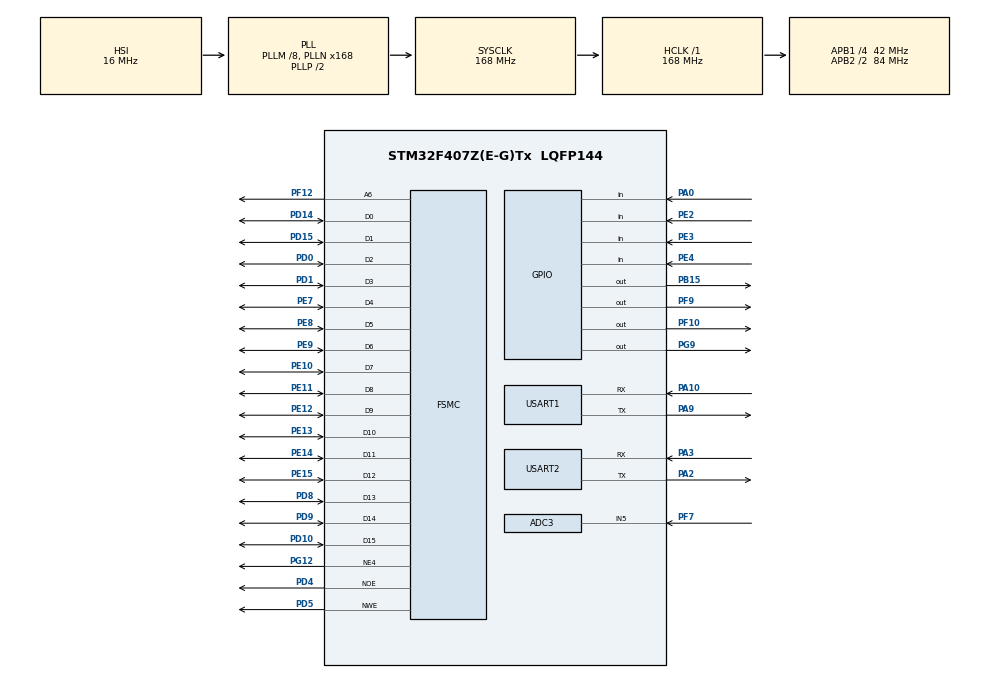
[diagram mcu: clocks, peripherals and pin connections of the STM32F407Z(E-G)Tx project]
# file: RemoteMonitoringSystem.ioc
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ADC3.Channel-0\#ChannelRegularConversion=ADC_CHANNEL_5
ADC3.NbrOfConversionFlag=1
ADC3.Rank-0\#ChannelRegularConversion=1
ADC3.SamplingTime-0\#ChannelRegularConversion=ADC_SAMPLETIME_480CYCLES
Dma.ADC3.0.Direction=DMA_PERIPH_TO_MEMORY
Dma.ADC3.0.FIFOMode=DMA_FIFOMODE_DISABLE
Dma.ADC3.0.Instance=DMA2_Stream0
Dma.ADC3.0.MemDataAlignment=DMA_MDATAALIGN_HALFWORD
Dma.ADC3.0.MemInc=DMA_MINC_ENABLE
Dma.ADC3.0.Mode=DMA_CIRCULAR
Dma.ADC3.0.PeriphDataAlignment=DMA_PDATAALIGN_HALFWORD
Dma.ADC3.0.PeriphInc=DMA_PINC_DISABLE
Dma.ADC3.0.Priority=DMA_PRIORITY_LOW
Dma.Request0=ADC3
FREERTOS.Tasks01=defaultTask,24,128,StartDefaultTask,Default,NULL,Dynamic,NULL,NULL
FSMC.AddressSetupTime1=0x0F
FSMC.BusTurnAroundDuration1=0
FSMC.DataSetupTime1=60
FSMC.ExtendedAddressSetupTime1=9
FSMC.ExtendedBusTurnAroundDuration1=0
FSMC.ExtendedDataSetupTime1=9
FSMC.ExtendedMode1=FSMC_EXTENDED_MODE_ENABLE
Mcu.Family=STM32F4
Mcu.Name=STM32F407Z(E-G)Tx
Mcu.Package=LQFP144
NVIC.ADC_IRQn=true\:5\:0\:false\:false\:true\:true\:true\:true\:true
NVIC.DMA2_Stream0_IRQn=true\:5\:0\:false\:false\:true\:true\:false\:true\:true
NVIC.PriorityGroup=NVIC_PRIORITYGROUP_4
NVIC.TIM7_IRQn=true\:15\:0\:false\:false\:true\:false\:false\:true\:true
NVIC.TimeBase=TIM7_IRQn
NVIC.TimeBaseIP=TIM7
NVIC.USART1_IRQn=true\:5\:0\:false\:false\:true\:true\:true\:true\:true
NVIC.USART2_IRQn=true\:5\:0\:false\:false\:true\:true\:true\:true\:true
PA0-WKUP.GPIO_PuPd=GPIO_PULLDOWN
PA0-WKUP.Signal=GPIO_Input
PA10.GPIO_PuPd=GPIO_PULLUP
PA10.Mode=Asynchronous
PA10.Signal=USART1_RX
PA13.Mode=Serial_Wire
PA13.Signal=SYS_JTMS-SWDIO
PA14.Mode=Serial_Wire
PA14.Signal=SYS_JTCK-SWCLK
PA2.Mode=Asynchronous
PA2.Signal=USART2_TX
PA3.Mode=Asynchronous
PA3.Signal=USART2_RX
PA9.GPIO_PuPd=GPIO_PULLUP
PA9.GPIO_Speed=GPIO_SPEED_FREQ_VERY_HIGH
PA9.Mode=Asynchronous
PA9.Signal=USART1_TX
PB15.PinState=GPIO_PIN_RESET
PB15.Signal=GPIO_Output
PD0.Signal=FSMC_D2_DA2
PD1.Signal=FSMC_D3_DA3
PD10.Signal=FSMC_D15_DA15
PD14.Signal=FSMC_D0_DA0
PD15.Signal=FSMC_D1_DA1
PD4.Signal=FSMC_NOE
PD5.Signal=FSMC_NWE
PD8.Signal=FSMC_D13_DA13
PD9.Signal=FSMC_D14_DA14
PE10.Signal=FSMC_D7_DA7
PE11.Signal=FSMC_D8_DA8
PE12.Signal=FSMC_D9_DA9
PE13.Signal=FSMC_D10_DA10
PE14.Signal=FSMC_D11_DA11
PE15.Signal=FSMC_D12_DA12
PE2.GPIO_PuPd=GPIO_PULLUP
PE2.Signal=GPIO_Input
PE3.GPIO_PuPd=GPIO_PULLUP
PE3.Signal=GPIO_Input
PE4.GPIO_PuPd=GPIO_PULLUP
PE4.Signal=GPIO_Input
PE7.Signal=FSMC_D4_DA4
PE8.Signal=FSMC_D5_DA5
PE9.Signal=FSMC_D6_DA6
PF10.GPIO_PuPd=GPIO_PULLUP
PF10.GPIO_Speed=GPIO_SPEED_FREQ_HIGH
PF10.PinState=GPIO_PIN_SET
PF10.Signal=GPIO_Output
PF12.Signal=FSMC_A6
PF7.Mode=IN5
PF7.Signal=ADC3_IN5
PF9.PinState=GPIO_PIN_SET
PF9.Signal=GPIO_Output
PG12.Mode=NorPsramChipSelect4_1
PG12.Signal=FSMC_NE4
PG9.GPIO_ModeDefaultOutputPP=GPIO_MODE_OUTPUT_OD
PG9.GPIO_PuPd=GPIO_PULLUP
PG9.GPIO_Speed=GPIO_SPEED_FREQ_HIGH
PG9.Signal=GPIO_Output
PH0-OSC_IN.Mode=HSE-External-Oscillator
PH0-OSC_IN.Signal=RCC_OSC_IN
PH1-OSC_OUT.Mode=HSE-External-Oscillator
PH1-OSC_OUT.Signal=RCC_OSC_OUT
ProjectManager.HeapSize=0x200
ProjectManager.StackSize=0x400
ProjectManager.TargetToolchain=MDK-ARM V5
RCC.48MHZClocksFreq_Value=84000000
RCC.AHBFreq_Value=168000000
RCC.APB1CLKDivider=RCC_HCLK_DIV4
RCC.APB1Freq_Value=42000000
RCC.APB1TimFreq_Value=84000000
RCC.APB2CLKDivider=RCC_HCLK_DIV2
RCC.APB2Freq_Value=84000000
RCC.APB2TimFreq_Value=168000000
RCC.CortexFreq_Value=168000000
RCC.HCLKFreq_Value=168000000
RCC.HSE_VALUE=8000000
RCC.HSI_VALUE=16000000
RCC.LSE_VALUE=32768
RCC.PLLM=8
RCC.PLLN=168
RCC.SYSCLKFreq_VALUE=168000000
RCC.SYSCLKSource=RCC_SYSCLKSOURCE_PLLCLK
RCC.VCOOutputFreq_Value=336000000
SH.FSMC_A6.0=FSMC_A6,A6_1
SH.FSMC_D0_DA0.0=FSMC_D0,16b-d1
SH.FSMC_D10_DA10.0=FSMC_D10,16b-d1
SH.FSMC_D11_DA11.0=FSMC_D11,16b-d1
SH.FSMC_D12_DA12.0=FSMC_D12,16b-d1
SH.FSMC_D13_DA13.0=FSMC_D13,16b-d1
SH.FSMC_D14_DA14.0=FSMC_D14,16b-d1
SH.FSMC_D15_DA15.0=FSMC_D15,16b-d1
SH.FSMC_D1_DA1.0=FSMC_D1,16b-d1
SH.FSMC_D2_DA2.0=FSMC_D2,16b-d1
SH.FSMC_D3_DA3.0=FSMC_D3,16b-d1
SH.FSMC_D4_DA4.0=FSMC_D4,16b-d1
SH.FSMC_D5_DA5.0=FSMC_D5,16b-d1
SH.FSMC_D6_DA6.0=FSMC_D6,16b-d1
SH.FSMC_D7_DA7.0=FSMC_D7,16b-d1
SH.FSMC_D8_DA8.0=FSMC_D8,16b-d1
SH.FSMC_D9_DA9.0=FSMC_D9,16b-d1
SH.FSMC_NOE.0=FSMC_NOE,Lcd1
SH.FSMC_NWE.0=FSMC_NWE,Lcd1
USART1.VirtualMode=VM_ASYNC
USART2.VirtualMode=VM_ASYNC
VP_FREERTOS_VS_CMSIS_V2.Mode=CMSIS_V2
VP_SYS_VS_tim7.Mode=TIM7
board=custom

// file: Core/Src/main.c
/* USER CODE BEGIN Header */
/**
  ******************************************************************************
  * @file           : main.c
  * @brief          : Main program body
  ******************************************************************************
  * @attention
  *
  * Copyright (c) 2026 STMicroelectronics.
  * All rights reserved.
  *
  * This software is licensed under terms that can be found in the LICENSE file
  * in the root directory of this software component.
  * If no LICENSE file comes with this software, it is provided AS-IS.
  *
  ******************************************************************************
  */
/* USER CODE END Header */
#include "main.h"
#include "cmsis_os.h"
#include "adc.h"
#include "dma.h"
#include "usart.h"
#include "gpio.h"
#include "fsmc.h"

/* USER CODE BEGIN Includes */
#include "LedKey\bsp_led_key.h"
#include "usart\bsp_usart1.h"
#include "delay\bsp_delay.h"
#include "lcd\lcd.h"
#include "dht11\bsp_dht11.h"
#include "lsens\bsp_lsens.h"
/* USER CODE END Includes */

/* USER CODE BEGIN PM */
//uint8_t  g_usart_rx_buf[USART_REC_LEN];  /* RX buffer, max USART_REC_LEN bytes, last byte is terminator */
//uint16_t g_usart_rx_sta;                 /* RX status register */
//uint8_t g_rx_buffer[RXBUFFERSIZE];       /* HAL USART RX buffer */
/* USER CODE END PM */

void SystemClock_Config(void);
void MX_FREERTOS_Init(void);

int main(void)
{

  /* MCU Configuration--------------------------------------------------------*/

  /* Reset of all peripherals, Initializes the Flash interface and the Systick. */
  HAL_Init();

  /* Configure the system clock */
  SystemClock_Config();

  /* Initialize all configured peripherals */
  MX_GPIO_Init();
  MX_DMA_Init();
  MX_USART1_UART_Init();
  MX_FSMC_Init();
  MX_ADC3_Init();
  MX_USART2_UART_Init();
  /* USER CODE BEGIN 2 */
	lcd_init();	/* uses HAL_Delay (TIM7) - works before scheduler */
	delay_init();	/* compute fac_us for delay_us, used only inside tasks */

	/* Static UI text (dynamic values are refreshed by the FreeRTOS tasks) */
	lcd_show_string(30, 50, 200, 16, 16, "STM32", RED);
	lcd_show_string(30, 70, 200, 16, 16, "DHT11 TEST", RED);
	lcd_show_string(30, 90, 200, 16, 16, "ATOM@ALIENTEK", RED);
	lcd_show_string(30, 110, 200, 16, 16, "LSENS_VAL:", BLUE);
	lcd_show_string(30, 150, 200, 16, 16, "Temp:", BLUE);
	lcd_show_string(88, 150, 200, 16, 16, "C", BLUE);
	lcd_show_string(30, 170, 200, 16, 16, "Humi:", BLUE);
	lcd_show_string(88, 170, 200, 16, 16, "%", BLUE);
  /* USER CODE END 2 */

  /* Init scheduler */
  osKernelInitialize();  /* Call init function for freertos objects (in cmsis_os2.c) */
  MX_FREERTOS_Init();

  /* Start scheduler */
  osKernelStart();

  /* We should never get here as control is now taken by the scheduler */

  /* Infinite loop */
  while (1)
  {

    /* USER CODE BEGIN 3 */
		/* All periodic work is done in the FreeRTOS tasks (see freertos.c). */
  }
  /* USER CODE END 3 */
}

void SystemClock_Config(void)
{
  RCC_OscInitTypeDef RCC_OscInitStruct = {0};
  RCC_ClkInitTypeDef RCC_ClkInitStruct = {0};

  /** Configure the main internal regulator output voltage
  */
  __HAL_RCC_PWR_CLK_ENABLE();
  __HAL_PWR_VOLTAGESCALING_CONFIG(PWR_REGULATOR_VOLTAGE_SCALE1);

  /** Initializes the RCC Oscillators according to the specified parameters
  * in the RCC_OscInitTypeDef structure.
  */
  RCC_OscInitStruct.OscillatorType = RCC_OSCILLATORTYPE_HSI;
  RCC_OscInitStruct.HSIState = RCC_HSI_ON;
  RCC_OscInitStruct.HSICalibrationValue = RCC_HSICALIBRATION_DEFAULT;
  RCC_OscInitStruct.PLL.PLLState = RCC_PLL_ON;
  RCC_OscInitStruct.PLL.PLLSource = RCC_PLLSOURCE_HSI;
  RCC_OscInitStruct.PLL.PLLM = 8;
  RCC_OscInitStruct.PLL.PLLN = 168;
  RCC_OscInitStruct.PLL.PLLP = RCC_PLLP_DIV2;
  RCC_OscInitStruct.PLL.PLLQ = 4;
  if (HAL_RCC_OscConfig(&RCC_OscInitStruct) != HAL_OK)
  {
    Error_Handler();
  }

  /** Initializes the CPU, AHB and APB buses clocks
  */
  RCC_ClkInitStruct.ClockType = RCC_CLOCKTYPE_HCLK|RCC_CLOCKTYPE_SYSCLK
                              |RCC_CLOCKTYPE_PCLK1|RCC_CLOCKTYPE_PCLK2;
  RCC_ClkInitStruct.SYSCLKSource = RCC_SYSCLKSOURCE_PLLCLK;
  RCC_ClkInitStruct.AHBCLKDivider = RCC_SYSCLK_DIV1;
  RCC_ClkInitStruct.APB1CLKDivider = RCC_HCLK_DIV4;
  RCC_ClkInitStruct.APB2CLKDivider = RCC_HCLK_DIV2;

  if (HAL_RCC_ClockConfig(&RCC_ClkInitStruct, FLASH_LATENCY_5) != HAL_OK)
  {
    Error_Handler();
  }
}

void HAL_TIM_PeriodElapsedCallback(TIM_HandleTypeDef *htim)
{
  if (htim->Instance == TIM7)
  {
    HAL_IncTick();
  }
}

void Error_Handler(void)
{
  __disable_irq();
  while (1)
  {
  }
}

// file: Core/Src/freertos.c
/* USER CODE BEGIN Header */
/**
  ******************************************************************************
  * File Name          : freertos.c
  * Description        : Code for freertos applications
  ******************************************************************************
  * @attention
  *
  * Copyright (c) 2026 STMicroelectronics.
  * All rights reserved.
  *
  * This software is licensed under terms that can be found in the LICENSE file
  * in the root directory of this software component.
  * If no LICENSE file comes with this software, it is provided AS-IS.
  *
  ******************************************************************************
  */
/* USER CODE END Header */

#include "FreeRTOS.h"
#include "task.h"
#include "main.h"
#include "cmsis_os.h"

/* USER CODE BEGIN Includes */
#include "lcd\lcd.h"
#include "dht11\bsp_dht11.h"
#include "lsens\bsp_lsens.h"
#include "LedKey\bsp_led_key.h"
#include "delay\bsp_delay.h"
#include <stdio.h>
#include "usart.h"
/* USER CODE END Includes */

/* USER CODE BEGIN PTD */
/* Data shared between the sensor tasks and the LCD task. */
typedef struct
{
    uint8_t light;        /* light intensity 0~100 */
    uint8_t temperature;  /* temperature */
    uint8_t humidity;     /* humidity */
    uint8_t dht11_ok;     /* 1 = DHT11 ok, 0 = error */
} monitor_data_t;
/* USER CODE END PTD */

/* USER CODE BEGIN Variables */
static monitor_data_t g_monitor = {0, 0, 0, 0};   /* shared sensor data */
static osMutexId_t     g_monitor_mutex;           /* mutex protecting g_monitor */

/* Task handles and attributes */
osThreadId_t lightTaskHandle;
const osThreadAttr_t lightTask_attributes = {
  .name = "lightTask",
  .stack_size = 256 * 4,
  .priority = (osPriority_t) osPriorityNormal,
};
osThreadId_t dht11TaskHandle;
const osThreadAttr_t dht11Task_attributes = {
  .name = "dht11Task",
  .stack_size = 256 * 4,
  .priority = (osPriority_t) osPriorityAboveNormal,
};
osThreadId_t lcdTaskHandle;
const osThreadAttr_t lcdTask_attributes = {
  .name = "lcdTask",
  .stack_size = 512 * 4,
  .priority = (osPriority_t) osPriorityNormal,
};
osThreadId_t ledTaskHandle;
const osThreadAttr_t ledTask_attributes = {
  .name = "ledTask",
  .stack_size = 128 * 4,
  .priority = (osPriority_t) osPriorityBelowNormal,
};
osThreadId_t keyTaskHandle;
const osThreadAttr_t keyTask_attributes = {
	.name = "keyTask",
	.stack_size = 128 * 4,
	.priority = (osPriority_t) osPriorityNormal,
};
osThreadId_t uartTxTaskHandle;
const osThreadAttr_t uartTxTask_attributes = {
  .name = "uartTxTask",
  .stack_size = 256 * 4,
  .priority = (osPriority_t) osPriorityNormal,
};
/* USER CODE END Variables */

/* USER CODE BEGIN FunctionPrototypes */
void StartLightTask(void *argument);
void StartDHT11Task(void *argument);
void StartLcdTask(void *argument);
void StartLedTask(void *argument);
void StartKeyTask(void *argument);
void StartUartTxTask(void *argument);
/* USER CODE END FunctionPrototypes */

void MX_FREERTOS_Init(void); /* (MISRA C 2004 rule 8.1) */

void MX_FREERTOS_Init(void) {
  /* USER CODE BEGIN Init */
  /* Create the mutex that protects the shared sensor data. */
  g_monitor_mutex = osMutexNew(NULL);
  /* USER CODE END Init */

  /* Create the thread(s) */

  /* USER CODE BEGIN RTOS_THREADS */
  lightTaskHandle = osThreadNew(StartLightTask, NULL, &lightTask_attributes);
  dht11TaskHandle = osThreadNew(StartDHT11Task, NULL, &dht11Task_attributes);
  lcdTaskHandle   = osThreadNew(StartLcdTask,   NULL, &lcdTask_attributes);
  ledTaskHandle   = osThreadNew(StartLedTask,   NULL, &ledTask_attributes);
	keyTaskHandle		= osThreadNew(StartKeyTask,		NULL,	&keyTask_attributes);
	uartTxTaskHandle = osThreadNew(StartUartTxTask,NULL,&uartTxTask_attributes);
  /* USER CODE END RTOS_THREADS */

}

/* USER CODE BEGIN Application */

/**
  * @brief  Light sensor task: reads the ADC and stores the light value.
  * @param  argument: not used
  * @retval None
  */
void StartLightTask(void *argument)
{
  for(;;)
  {
    uint8_t light = lsens_get_val();   /* ~50ms: 10 ADC samples */

    osMutexAcquire(g_monitor_mutex, osWaitForever);
    g_monitor.light = light;
    osMutexRelease(g_monitor_mutex);

    osDelay(200);
  }
}

/**
  * @brief  DHT11 task: reads temperature and humidity.
  * @note   The DHT11 driver is interrupt-driven: the EXTI peripheral captures
  *         the single-bus edges and time-stamps them with the DWT counter, and
  *         this task blocks on a semaphore until the read completes. No busy-wait
  *         and no critical section are needed.
  * @param  argument: not used
  * @retval None
  */
void StartDHT11Task(void *argument)
{
  uint8_t temp, humi, ok;

  dht11_init();   /* set up EXTI + completion semaphore (once) */

  for(;;)
  {
    ok = (dht11_read_data(&temp, &humi) == 0);   /* blocks on semaphore */

    osMutexAcquire(g_monitor_mutex, osWaitForever);
    g_monitor.dht11_ok = ok;
    if (ok)
    {
      g_monitor.temperature = temp;
      g_monitor.humidity    = humi;
    }
    osMutexRelease(g_monitor_mutex);

    osDelay(2000);   /* DHT11 sampling period must be >= 2 s */
  }
}

/**
  * @brief  LCD task: refreshes the display with the latest sensor data.
  * @param  argument: not used
  * @retval None
  */
void StartLcdTask(void *argument)
{
  monitor_data_t data;
  uint8_t last_ok = 0xFF;   /* sentinel: forces the first status draw */

  for(;;)
  {
    osMutexAcquire(g_monitor_mutex, osWaitForever);
    data = g_monitor;
    osMutexRelease(g_monitor_mutex);

    lcd_show_num(70, 150, data.temperature, 2, 16, BLUE);
    lcd_show_num(70, 170, data.humidity,    2, 16, BLUE);
    lcd_show_xnum(110, 110, data.light, 3, 16, 0, BLUE);

    if (last_ok != data.dht11_ok)   /* redraw status only on change */
    {
      last_ok = data.dht11_ok;
      lcd_fill(30, 130, 30 + 10 * 8 - 1, 130 + 16 - 1, WHITE);
      if (data.dht11_ok)
      {
        lcd_show_string(30, 130, 200, 16, 16, "DHT11 OK", RED);
      }
      else
      {
        lcd_show_string(30, 130, 200, 16, 16, "DHT11 ERROR", RED);
      }
    }

    osDelay(200);
  }
}

/**
  * @brief  LED task: toggles LED0 every 200ms and LED1 every 1s.
  * @param  argument: not used
  * @retval None
  */
void StartLedTask(void *argument)
{
  uint32_t cnt = 0;

  for(;;)
  {
    cnt++;
    LED0_TOGGLE;             /* every 200ms -> ~2.5Hz */
//    if (cnt % 5 == 0)
//    {
//      LED1_TOGGLE;           /* every 1s -> 1Hz */
//    }
    osDelay(200);
	}
}

//KEY Task
void StartKeyTask(void *argument)
{
	uint8_t last = 1;
		for(;;)
		{
			uint8_t now = KEY0;
			if(last==1 && now == 0)
				LED1_TOGGLE;
			last = now;
			osDelay(10);
		}
}

//uartTx Task
void StartUartTxTask(void *argument)
{
	char buf[64];
	monitor_data_t d;
	int n;

	for(;;)
	{
		osMutexAcquire(g_monitor_mutex,osWaitForever);
		d = g_monitor;
		osMutexRelease(g_monitor_mutex);

		n = snprintf(buf,sizeof(buf),"T=%d,H=%d,L=%d,S=%d\r\n"
			,d.temperature,d.humidity,d.light,d.dht11_ok);
		HAL_UART_Transmit(&huart2,(uint8_t*)buf,(uint16_t)n,100);
		osDelay(1000);

	}

}
/* USER CODE END Application */
